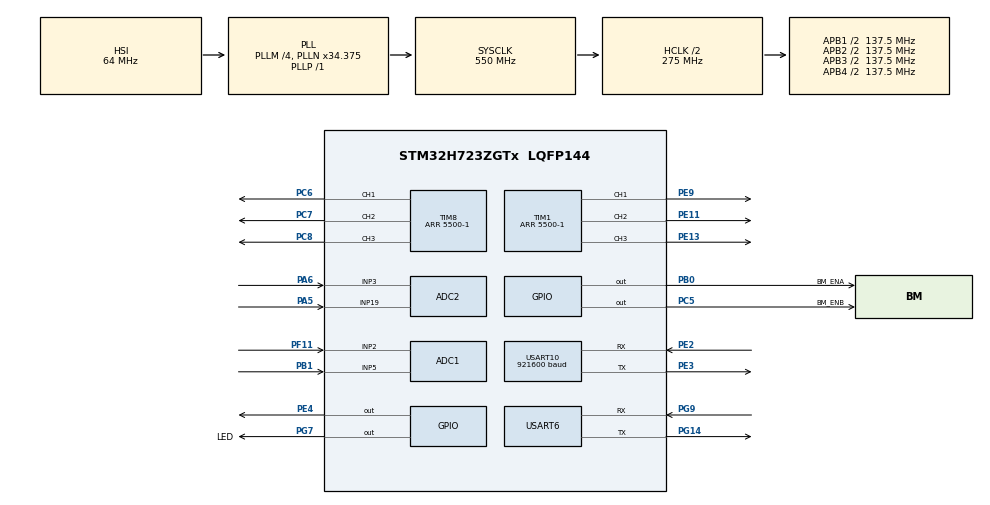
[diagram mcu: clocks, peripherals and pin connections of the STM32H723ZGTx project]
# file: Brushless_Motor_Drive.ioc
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ADC1.Channel-0\#ChannelRegularConversion=ADC_CHANNEL_2
ADC1.Channel-1\#ChannelRegularConversion=ADC_CHANNEL_5
ADC1.ConversionDataManagement=ADC_CONVERSIONDATA_DMA_CIRCULAR
ADC1.ExternalTrigConv=ADC_EXTERNALTRIG_T8_TRGO
ADC1.NbrOfConversion=2
ADC1.NbrOfConversionFlag=1
ADC1.OffsetNumber-0\#ChannelRegularConversion=ADC_OFFSET_NONE
ADC1.OffsetNumber-1\#ChannelRegularConversion=ADC_OFFSET_NONE
ADC1.OffsetSignedSaturation-0\#ChannelRegularConversion=DISABLE
ADC1.OffsetSignedSaturation-1\#ChannelRegularConversion=DISABLE
ADC1.OversamplingMode=ENABLE
ADC1.Rank-0\#ChannelRegularConversion=1
ADC1.Rank-1\#ChannelRegularConversion=2
ADC1.Ratio=2
ADC1.RightBitShift=ADC_RIGHTBITSHIFT_1
ADC1.SamplingTime-0\#ChannelRegularConversion=ADC_SAMPLETIME_8CYCLES_5
ADC1.SamplingTime-1\#ChannelRegularConversion=ADC_SAMPLETIME_8CYCLES_5
ADC1.master=1
ADC2.Channel-0\#ChannelRegularConversion=ADC_CHANNEL_3
ADC2.Channel-1\#ChannelRegularConversion=ADC_CHANNEL_19
ADC2.ClockPrescaler=ADC_CLOCK_ASYNC_DIV1
ADC2.ConversionDataManagement=ADC_CONVERSIONDATA_DMA_CIRCULAR
ADC2.ExternalTrigConv=ADC_EXTERNALTRIG_T1_TRGO
ADC2.NbrOfConversion=2
ADC2.NbrOfConversionFlag=1
ADC2.OffsetNumber-0\#ChannelRegularConversion=ADC_OFFSET_NONE
ADC2.OffsetNumber-1\#ChannelRegularConversion=ADC_OFFSET_NONE
ADC2.OffsetSignedSaturation-0\#ChannelRegularConversion=DISABLE
ADC2.OffsetSignedSaturation-1\#ChannelRegularConversion=DISABLE
ADC2.OversamplingMode=ENABLE
ADC2.Rank-0\#ChannelRegularConversion=1
ADC2.Rank-1\#ChannelRegularConversion=2
ADC2.Ratio=2
ADC2.RightBitShift=ADC_RIGHTBITSHIFT_1
ADC2.SamplingTime-0\#ChannelRegularConversion=ADC_SAMPLETIME_8CYCLES_5
ADC2.SamplingTime-1\#ChannelRegularConversion=ADC_SAMPLETIME_8CYCLES_5
CORTEX_M7.default_mode_Activation=1
Dma.ADC1.1.Direction=DMA_PERIPH_TO_MEMORY
Dma.ADC1.1.EventEnable=DISABLE
Dma.ADC1.1.FIFOMode=DMA_FIFOMODE_DISABLE
Dma.ADC1.1.Instance=DMA1_Stream1
Dma.ADC1.1.MemDataAlignment=DMA_MDATAALIGN_HALFWORD
Dma.ADC1.1.MemInc=DMA_MINC_ENABLE
Dma.ADC1.1.Mode=DMA_CIRCULAR
Dma.ADC1.1.PeriphDataAlignment=DMA_PDATAALIGN_HALFWORD
Dma.ADC1.1.PeriphInc=DMA_PINC_DISABLE
Dma.ADC1.1.Polarity=HAL_DMAMUX_REQ_GEN_RISING
Dma.ADC1.1.Priority=DMA_PRIORITY_LOW
Dma.ADC1.1.RequestNumber=1
Dma.ADC1.1.SignalID=NONE
Dma.ADC1.1.SyncEnable=DISABLE
Dma.ADC1.1.SyncPolarity=HAL_DMAMUX_SYNC_NO_EVENT
Dma.ADC1.1.SyncRequestNumber=1
Dma.ADC1.1.SyncSignalID=NONE
Dma.ADC2.0.Direction=DMA_PERIPH_TO_MEMORY
Dma.ADC2.0.EventEnable=DISABLE
Dma.ADC2.0.FIFOMode=DMA_FIFOMODE_DISABLE
Dma.ADC2.0.Instance=DMA1_Stream0
Dma.ADC2.0.MemDataAlignment=DMA_MDATAALIGN_HALFWORD
Dma.ADC2.0.MemInc=DMA_MINC_ENABLE
Dma.ADC2.0.Mode=DMA_CIRCULAR
Dma.ADC2.0.PeriphDataAlignment=DMA_PDATAALIGN_HALFWORD
Dma.ADC2.0.PeriphInc=DMA_PINC_DISABLE
Dma.ADC2.0.Polarity=HAL_DMAMUX_REQ_GEN_RISING
Dma.ADC2.0.Priority=DMA_PRIORITY_LOW
Dma.ADC2.0.RequestNumber=1
Dma.ADC2.0.SignalID=NONE
Dma.ADC2.0.SyncEnable=DISABLE
Dma.ADC2.0.SyncPolarity=HAL_DMAMUX_SYNC_NO_EVENT
Dma.ADC2.0.SyncRequestNumber=1
Dma.ADC2.0.SyncSignalID=NONE
Dma.Request0=ADC2
Dma.Request1=ADC1
Mcu.Family=STM32H7
Mcu.Name=STM32H723ZGTx
Mcu.Package=LQFP144
NVIC.PriorityGroup=NVIC_PRIORITYGROUP_4
NVIC.TIM1_UP_IRQn=true\:0\:0\:false\:false\:true\:true\:true\:true
NVIC.TIM8_UP_TIM13_IRQn=true\:0\:0\:false\:false\:true\:true\:true\:true
PA5.Signal=ADCx_INP19
PA6.Signal=ADCx_INP3
PB0.GPIO_Label=BM_ENA
PB0.GPIO_Speed=GPIO_SPEED_FREQ_HIGH
PB0.PinState=GPIO_PIN_SET
PB0.Signal=GPIO_Output
PB1.Signal=ADCx_INP5
PC5.GPIO_Label=BM_ENB
PC5.GPIO_Speed=GPIO_SPEED_FREQ_HIGH
PC5.PinState=GPIO_PIN_SET
PC5.Signal=GPIO_Output
PC6.Signal=S_TIM8_CH1
PC7.Signal=S_TIM8_CH2
PC8.Signal=S_TIM8_CH3
PE11.GPIO_Speed=GPIO_SPEED_FREQ_HIGH
PE11.Signal=S_TIM1_CH2
PE13.GPIO_Speed=GPIO_SPEED_FREQ_HIGH
PE13.Signal=S_TIM1_CH3
PE2.Mode=Asynchronous
PE2.Signal=USART10_RX
PE3.Mode=Asynchronous
PE3.Signal=USART10_TX
PE4.Signal=GPIO_Output
PE9.GPIO_Speed=GPIO_SPEED_FREQ_HIGH
PE9.Signal=S_TIM1_CH1
PF11.Mode=IN2-Single-Ended
PF11.Signal=ADC1_INP2
PG14.Mode=Asynchronous
PG14.Signal=USART6_TX
PG7.GPIO_Label=LED
PG7.GPIO_ModeDefaultOutputPP=GPIO_MODE_OUTPUT_PP
PG7.GPIO_PuPd=GPIO_NOPULL
PG7.Signal=GPIO_Output
PG9.Mode=Asynchronous
PG9.Signal=USART6_RX
PH0-OSC_IN.Mode=HSE-External-Oscillator
PH0-OSC_IN.Signal=RCC_OSC_IN
PH1-OSC_OUT.Mode=HSE-External-Oscillator
PH1-OSC_OUT.Signal=RCC_OSC_OUT
ProjectManager.HeapSize=0x200
ProjectManager.StackSize=0x400
ProjectManager.TargetToolchain=MDK-ARM V5.32
RCC.ADCFreq_Value=129000000
RCC.APB1Freq_Value=137500000
RCC.APB2Freq_Value=137500000
RCC.APB3Freq_Value=137500000
RCC.APB4Freq_Value=137500000
RCC.CortexFreq_Value=550000000
RCC.D1PPRE=RCC_APB3_DIV2
RCC.D2PPRE1=RCC_APB1_DIV2
RCC.D2PPRE2=RCC_APB2_DIV2
RCC.D3PPRE=RCC_APB4_DIV2
RCC.DIVM1=4
RCC.DIVN1=34
RCC.DIVP1=1
RCC.HCLKFreq_Value=275000000
RCC.HPRE=RCC_HCLK_DIV2
RCC.PLL2FRACN=0
RCC.PLL3FRACN=0
RCC.PLLFRACN=3072
RCC.SYSCLKFreq_VALUE=550000000
RCC.SYSCLKSource=RCC_SYSCLKSOURCE_PLLCLK
RCC.USBFreq_Value=275000000
SH.ADCx_INP19.0=ADC2_INP19,IN19-Single-Ended
SH.ADCx_INP3.0=ADC2_INP3,IN3-Single-Ended
SH.ADCx_INP5.0=ADC1_INP5,IN5-Single-Ended
SH.S_TIM1_CH1.0=TIM1_CH1,PWM Generation1 CH1
SH.S_TIM1_CH2.0=TIM1_CH2,PWM Generation2 CH2
SH.S_TIM1_CH3.0=TIM1_CH3,PWM Generation3 CH3
SH.S_TIM8_CH1.0=TIM8_CH1,PWM Generation1 CH1
SH.S_TIM8_CH2.0=TIM8_CH2,PWM Generation2 CH2
SH.S_TIM8_CH3.0=TIM8_CH3,PWM Generation3 CH3
TIM1.AutoReloadPreload=TIM_AUTORELOAD_PRELOAD_ENABLE
TIM1.Channel-PWM\ Generation1\ CH1=TIM_CHANNEL_1
TIM1.Channel-PWM\ Generation2\ CH2=TIM_CHANNEL_2
TIM1.Channel-PWM\ Generation3\ CH3=TIM_CHANNEL_3
TIM1.Channel-PWM\ Generation4\ No\ Output=TIM_CHANNEL_4
TIM1.CounterMode=TIM_COUNTERMODE_CENTERALIGNED1
TIM1.LockLevel=TIM_LOCKLEVEL_1
TIM1.OCMode_PWM-PWM\ Generation1\ CH1=TIM_OCMODE_PWM2
TIM1.OCMode_PWM-PWM\ Generation2\ CH2=TIM_OCMODE_PWM2
TIM1.OCMode_PWM-PWM\ Generation3\ CH3=TIM_OCMODE_PWM2
TIM1.OCMode_PWM-PWM\ Generation4\ No\ Output=TIM_OCMODE_PWM1
TIM1.Period=5500-1
TIM1.Pulse-PWM\ Generation1\ CH1=2750-1
TIM1.Pulse-PWM\ Generation2\ CH2=2750-1
TIM1.Pulse-PWM\ Generation3\ CH3=2750-1
TIM1.Pulse-PWM\ Generation4\ No\ Output=5495-1
TIM1.RepetitionCounter=1
TIM1.TIM_MasterOutputTrigger=TIM_TRGO_UPDATE
TIM8.AutoReloadPreload=TIM_AUTORELOAD_PRELOAD_ENABLE
TIM8.Channel-PWM\ Generation1\ CH1=TIM_CHANNEL_1
TIM8.Channel-PWM\ Generation2\ CH2=TIM_CHANNEL_2
TIM8.Channel-PWM\ Generation3\ CH3=TIM_CHANNEL_3
TIM8.Channel-PWM\ Generation4\ No\ Output=TIM_CHANNEL_4
TIM8.CounterMode=TIM_COUNTERMODE_CENTERALIGNED1
TIM8.OCMode_PWM-PWM\ Generation1\ CH1=TIM_OCMODE_PWM2
TIM8.OCMode_PWM-PWM\ Generation2\ CH2=TIM_OCMODE_PWM2
TIM8.OCMode_PWM-PWM\ Generation3\ CH3=TIM_OCMODE_PWM2
TIM8.Period=5500-1
TIM8.Pulse-PWM\ Generation1\ CH1=2750-1
TIM8.Pulse-PWM\ Generation2\ CH2=2750-1
TIM8.Pulse-PWM\ Generation3\ CH3=2750-1
TIM8.Pulse-PWM\ Generation4\ No\ Output=5495-1
TIM8.RepetitionCounter=1
TIM8.TIM_MasterOutputTrigger=TIM_TRGO_UPDATE
USART10.BaudRate=921600
USART10.VirtualMode-Asynchronous=VM_ASYNC
USART6.VirtualMode-Asynchronous=VM_ASYNC
VP_MEMORYMAP_VS_MEMORYMAP.Mode=CurAppReg
VP_TIM1_VS_ClockSourceINT.Mode=Internal
VP_TIM1_VS_no_output4.Mode=PWM Generation4 No Output
VP_TIM8_VS_ClockSourceINT.Mode=Internal
VP_TIM8_VS_no_output4.Mode=PWM Generation4 No Output
board=custom

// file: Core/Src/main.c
/* USER CODE BEGIN Header */
/**
  ******************************************************************************
  * @file           : main.c
  * @brief          : Main program body
  ******************************************************************************
  * @attention
  *
  * Copyright (c) 2026 STMicroelectronics.
  * All rights reserved.
  *
  * This software is licensed under terms that can be found in the LICENSE file
  * in the root directory of this software component.
  * If no LICENSE file comes with this software, it is provided AS-IS.
  *
  ******************************************************************************
  */
/* USER CODE END Header */
#include "main.h"
#include "adc.h"
#include "dma.h"
#include "tim.h"
#include "usart.h"
#include "gpio.h"

/* USER CODE BEGIN Includes */
#include "foc.h"
#include "stdio.h"
/* USER CODE END Includes */

void SystemClock_Config(void);
void PeriphCommonClock_Config(void);
static void MPU_Config(void);

/* USER CODE BEGIN 0 */
extern uint16_t adc2_buf[2];
extern uint16_t adc1_buf[2];

// foc_handle_t motor0;

void Print1_Motor_To_VOFA(float data, uint8_t length)
{
    char uart_buf[20];
    sprintf(uart_buf, "%.6f\n", data);
    HAL_UART_Transmit(&huart10, (uint8_t *)uart_buf, length, 100);
    HAL_UART_Transmit(&huart10, (uint8_t *)"\n", 1, 100);
}

void Print2_Motor_To_VOFA(float data1, float data2)
{

    char uart_buf[256]; // 足够长以容纳三个数据
    // 使用逗号分隔，结尾加换行，VOFA 的 FireWater 协议才能正确识别成一帧
    int len = sprintf(uart_buf, "%.3f,%.3f\n", data1, data2);

    // 一次性发送，不要分段发送逗号和换行
    HAL_UART_Transmit(&huart10, (uint8_t *)uart_buf, len, 10);
}

void Print3_Motor_To_VOFA(float data1, float data2, float data3)
{
    char uart_buf[256]; // 足够长以容纳三个数据
    // 使用逗号分隔，结尾加换行，VOFA 的 FireWater 协议才能正确识别成一帧
    int len = sprintf(uart_buf, "%.3f,%.3f,%.3f\n", data1, data2, data3);

    // 一次性发送，不要分段发送逗号和换行
    HAL_UART_Transmit(&huart10, (uint8_t *)uart_buf, len, 10);
}

void Print4_Motor_To_VOFA(float data1, float data2, float data3, float data4)
{
    char uart_buf[256]; // 足够长以容纳三个数据
    // 使用逗号分隔，结尾加换行，VOFA 的 FireWater 协议才能正确识别成一帧
    int len = sprintf(uart_buf, "%.3f,%.3f,%.3f,%.3f\n", data1, data2, data3, data4);

    // 一次性发送，不要分段发送逗号和换行
    HAL_UART_Transmit(&huart10, (uint8_t *)uart_buf, len, 10);
}

void Print5_Motor_To_VOFA(float data1, float data2, float data3, float data4, float data5)
{
    char uart_buf[256 * 4]; // 足够长以容纳三个数据
    // 使用逗号分隔，结尾加换行，VOFA 的 FireWater 协议才能正确识别成一帧
    int len = sprintf(uart_buf, "%.3f,%.3f,%.3f,%.3f, %.3f,%.3f\n", data1, data2, data3, data4, data5);

    // 一次性发送，不要分段发送逗号和换行
    HAL_UART_Transmit(&huart10, (uint8_t *)uart_buf, len, 10);
}
/* USER CODE END 0 */

int main(void)
{

  /* MPU Configuration--------------------------------------------------------*/
  MPU_Config();

  /* MCU Configuration--------------------------------------------------------*/

  /* Reset of all peripherals, Initializes the Flash interface and the Systick. */
  HAL_Init();

  /* Configure the system clock */
  SystemClock_Config();

  /* Configure the peripherals common clocks */
  PeriphCommonClock_Config();

  /* Initialize all configured peripherals */
  MX_GPIO_Init();
  MX_DMA_Init();
  MX_TIM1_Init();
  MX_ADC2_Init();
  MX_USART10_UART_Init();
  MX_ADC1_Init();
  MX_TIM8_Init();
  MX_USART6_UART_Init();
  /* USER CODE BEGIN 2 */

  Foc_Init(1, &foc_hal); // 左边电机
  Foc_Init(2, &foc_hal); // 右边电机

  HAL_Delay(50);

  /* USER CODE END 2 */

  /* Infinite loop */
  /* USER CODE BEGIN WHILE */
  HAL_GPIO_WritePin(GPIOG, GPIO_PIN_7, GPIO_PIN_SET);
  HAL_GPIO_WritePin(GPIOE, GPIO_PIN_4, GPIO_PIN_SET); // 485接收使能
  while (1)
  {
    // Print2_Motor_To_VOFA((FOC_Motor[2].u_dq.q - FOC_Motor[2].pi_q.feedback * MOTOR_R) / FOC_Motor[2].speed_observer, FOC_Motor[2].speed);
    // Print3_Motor_To_VOFA(FOC_Motor[2].i_adc_u, FOC_Motor[2].i_adc_v, FOC_Motor[2].i_adc_w);
    // Print3_Motor_To_VOFA(FOC_Motor[2].i_uvw.u, FOC_Motor[2].i_uvw.v, FOC_Motor[2].i_uvw.w);
    // Print4_Motor_To_VOFA(
    // FOC_Motor[2].speed,
    // FOC_Motor[2].pi_q.target,
    // FOC_Motor[2].i_dq.q,
    // FOC_Motor[2].u_dq.q);
    // Print4_Motor_To_VOFA(
    // FOC_Motor[2].i_dq.d,
    // FOC_Motor[2].i_dq.q,
    // angle_error,
    // FOC_Motor[2].e_amp);
    // Print4_Motor_To_VOFA(
    // FOC_Motor[2].speed,
    // FOC_Motor[2].e_amp,
    // smo_sat_ratio,
    // sqrtf(
    //     (FOC_Motor[2].i_ab_hat.alpha - FOC_Motor[2].i_ab.alpha) *
    //     (FOC_Motor[2].i_ab_hat.alpha - FOC_Motor[2].i_ab.alpha) +
    //     (FOC_Motor[2].i_ab_hat.beta - FOC_Motor[2].i_ab.beta) *
    //     (FOC_Motor[2].i_ab_hat.beta - FOC_Motor[2].i_ab.beta)));
    // Print2_Motor_To_VOFA(FOC_Motor[2].i_ab.alpha, FOC_Motor[2].i_ab.beta);
    // Print2_Motor_To_VOFA(FOC_Motor[2].i_ab.alpha, FOC_Motor[2].i_ab_hat.alpha);
    // Print2_Motor_To_VOFA(FOC_Motor[2].u_dq.q, FOC_Motor[2].u_dq.d);
    // Print2_Motor_To_VOFA(FOC_Motor[2].i_dq.q, FOC_Motor[2].i_dq.d);
    // Print2_Motor_To_VOFA(FOC_Motor[2].e_ab.alpha, FOC_Motor[2].e_ab.beta);
    // Print3_Motor_To_VOFA(FOC_Motor[2].e_ab.alpha, FOC_Motor[2].e_ab.beta, sqrt(FOC_Motor[2].e_ab.alpha * FOC_Motor[2].e_ab.alpha + FOC_Motor[2].e_ab.beta * FOC_Motor[2].e_ab.beta));
    // Print3_Motor_To_VOFA(FOC_Motor[2].theta, FOC_Motor[2].theta_Observer, angle_error);
    // Print4_Motor_To_VOFA(FOC_Motor[2].i_ab_hat.alpha - FOC_Motor[2].i_ab.alpha, smo_sat_ratio, angle_error, FOC_Motor[2].e_amp);
    // Print4_Motor_To_VOFA(
    // FOC_Motor[2].speed,
    // FOC_Motor[2].i_dq.d,
    // FOC_Motor[2].i_dq.q,
    // angle_error);
    // Print4_Motor_To_VOFA(
    // FOC_Motor[2].target_speed,
    // FOC_Motor[2].speed,
    // FOC_Motor[2].pi_q.feedback,
    // FOC_Motor[2].pi_q.output);

    float e_expected = fabsf(FOC_Motor[2].speed_ramp_target) *
                   _2_PI * POLE_PAIRS / 60.0f * MOTOR_PSI_F;
    float e_threshold = fmaxf(0.5f, 0.25f * e_expected);

  //   Print4_Motor_To_VOFA(
  //     FOC_Motor[2].speed,
  //     FOC_Motor[2].e_amp,
  //     angle_error,
  //     V_scale
  // );

  Print4_Motor_To_VOFA(
    FOC_Motor[2].speed,
    FOC_Motor[2].e_amp,
    FOC_Motor[2].angle_error,
    calc_compensation_angle(FOC_Motor[2].speed_observer)
);
    // Print4_Motor_To_VOFA(FOC_Motor[2].theta, FOC_Motor[2].theta_Observer, FOC_Motor[2].speed_observer, angle_error);
    // Print4_Motor_To_VOFA(FOC_Motor[2].i_dq.d, FOC_Motor[2].i_dq.q, FOC_Motor[2].pi_q.output, FOC_Motor[2].speed);
    // Print3_Motor_To_VOFA(FOC_Motor[2].speed, FOC_Motor[2].speed_observer, angle_error);

    // Print3_Motor_To_VOFA(FOC_Motor[2].speed, FOC_Motor[2].speed_ramp_target, FOC_Motor[2].e_amp);
    // Print6_Motor_To_VOFA(
    //   FOC_Motor[2].e_amp,
    //   angle_error,
    //   FOC_Motor[2].i_dq.q,
    //   FOC_Motor[2].pi_q.target,
    //   FOC_Motor[2].u_dq.q,
    //   FOC_Motor[2].i_ab_hat.alpha - FOC_Motor[2].i_ab.alpha);

    // Print3_Motor_To_VOFA(V_scale, smo_sat_ratio, FOC_Motor[2].i_ab_hat.alpha - FOC_Motor[2].i_ab.alpha);

    // Print3_Motor_To_VOFA(FOC_Motor[2].speed, FOC_Motor[2].mode, sqrt(FOC_Motor[2].u_dq.d + FOC_Motor[2].u_dq.q));
    // Print3_Motor_To_VOFA(FOC_Motor[2].u_dq.q, FOC_Motor[2].i_dq.q, FOC_Motor[2].pi_q.target);
    // Print3_Motor_To_VOFA(FOC_Motor[2].theta_Observer, FOC_Motor[2].theta, FOC_Motor[2].pi_q.target);
    // Print3_Motor_To_VOFA(FOC_Motor[2].i_dq.d, FOC_Motor[2].pi_d.target, FOC_Motor[2].pi_d.output);
    // Print3_Motor_To_VOFA(FOC_Motor[2].i_dq.d, FOC_Motor[2].pi_d.target, FOC_Motor[2].pi_d.output);
    // Print3_Motor_To_VOFA(FOC_Motor[2].i_adc_u, FOC_Motor[2].i_uvw.u, FOC_Motor[2].pi_q.target);
    // Print3_Motor_To_VOFA(FOC_Motor[2].i_ab_hat.alpha, FOC_Motor[2].i_ab_hat.beta, angle_error);
    // Print3_Motor_To_VOFA(FOC_Motor[2].u_dq.q, FOC_Motor[2].i_dq.q, FOC_Motor[2].speed);
    // Print4_Motor_To_VOFA(FOC_Motor[2].theta, FOC_Motor[2].theta_Observer, FOC_Motor[2].speed, angle_error);
    // Print4_Motor_To_VOFA(Vq_New, Vq_raw, V_scale, FOC_Motor[2].pi_q.integral);
    // Print4_Motor_To_VOFA(FOC_Motor[2].pi_q.target, FOC_Motor[2].pi_q.feedback, V_scale, FOC_Motor[2].pi_q.integral);
    // Print4_Motor_To_VOFA(
    //     FOC_Motor[2].i_dq.d,          // 期望≈0
    //     FOC_Motor[2].i_dq.q,          // 期望≈正7值稳定
    //     FOC_Motor[2].speed,            // 期望≈target_speed
    //     FOC_Motor[2].theta_Observer    // 观察是否平滑
    // );
    // Print4_Motor_To_VOFA(
    //     FOC_Motor[2].speed,              // 实际转速
    //     FOC_Motor[2].pi_speed.target,    // 速度目标（斜坡后）
    //     FOC_Motor[2].i_dq.q,             // Iq（力矩电流）
    //     FOC_Motor[2].i_dq.d              // Id（应接近0）
    // );
    // 在 Foc_Close_Loop 中，速度环计算完后添加
    // Print4_Motor_To_VOFA(FOC_Motor[2].speed,           // 观测器估计的 RPM
    //                  FOC_Motor[2].speed_ramp_target,// 爬坡目标 RPM
    //                  FOC_Motor[2].pi_q.target,     // 速度环输出的 Iq 目标 (A)
    //                  FOC_Motor[2].i_dq.q);         // 实测 q 轴电流 (A)
    // Print2_Motor_To_VOFA(FOC_Motor[2].i_dq.q, FOC_Motor[2].i_dq.d);

    // Print4_Motor_To_VOFA(FOC_Motor[2].id_fw,        // 弱磁电流（应为负值）
    //                  FOC_Motor[2].i_dq.q,        // 实际 iq
    //                  FOC_Motor[2].speed,          // 转速
    //                  FOC_Motor[2].fw_active);     // 弱磁是否激活

    Foc_Set_Speed(2, 2000);
    Foc_Set_Speed(1, -2000);
    // Foc_Set_Speed(1, 50);
    // Print2_Motor_To_VOFA((float)adc2_buf[0], (float)adc1_buf[1]);
    // 速度环调试需要看4个量
    // 改为打印这4个量（用Print3打前3个，observer_speed最重要）
    // Print3_Motor_To_VOFA(motor0.speed, motor0.speed_ramp_target, motor0.theta);
    // Print3_Motor_To_VOFA(motor0.speed, motor0.speed_ramp_target, angle_error);
    // Print3_Motor_To_VOFA(motor0.theta, theta_Observer, angle_error);
    // Print2_Motor_To_VOFA(motor0.e_alpha, motor0.e_beta);
    // Print2_Motor_To_VOFA(motor0.i_alpha, motor0.i_beta);
    // Print2_Motor_To_VOFA(motor0.adc_iu, motor0.adc_iw);
    // Print2_Motor_To_VOFA(motor0.i_q, motor0.i_d);
    // Print2_Motor_To_VOFA(motor0.i_q, angle_error);
    // Print2_Motor_To_VOFA(motor0.theta, theta_Observer);
    /* USER CODE END WHILE */

  }
}

void SystemClock_Config(void)
{
  RCC_OscInitTypeDef RCC_OscInitStruct = {0};
  RCC_ClkInitTypeDef RCC_ClkInitStruct = {0};

  /** Supply configuration update enable
  */
  HAL_PWREx_ConfigSupply(PWR_LDO_SUPPLY);

  /** Configure the main internal regulator output voltage
  */
  __HAL_PWR_VOLTAGESCALING_CONFIG(PWR_REGULATOR_VOLTAGE_SCALE0);

  while(!__HAL_PWR_GET_FLAG(PWR_FLAG_VOSRDY)) {}

  /** Initializes the RCC Oscillators according to the specified parameters
  * in the RCC_OscInitTypeDef structure.
  */
  RCC_OscInitStruct.OscillatorType = RCC_OSCILLATORTYPE_HSI;
  RCC_OscInitStruct.HSIState = RCC_HSI_DIV1;
  RCC_OscInitStruct.HSICalibrationValue = 64;
  RCC_OscInitStruct.PLL.PLLState = RCC_PLL_ON;
  RCC_OscInitStruct.PLL.PLLSource = RCC_PLLSOURCE_HSI;
  RCC_OscInitStruct.PLL.PLLM = 4;
  RCC_OscInitStruct.PLL.PLLN = 34;
  RCC_OscInitStruct.PLL.PLLP = 1;
  RCC_OscInitStruct.PLL.PLLQ = 2;
  RCC_OscInitStruct.PLL.PLLR = 2;
  RCC_OscInitStruct.PLL.PLLRGE = RCC_PLL1VCIRANGE_3;
  RCC_OscInitStruct.PLL.PLLVCOSEL = RCC_PLL1VCOWIDE;
  RCC_OscInitStruct.PLL.PLLFRACN = 3072;
  if (HAL_RCC_OscConfig(&RCC_OscInitStruct) != HAL_OK)
  {
    Error_Handler();
  }

  /** Initializes the CPU, AHB and APB buses clocks
  */
  RCC_ClkInitStruct.ClockType = RCC_CLOCKTYPE_HCLK|RCC_CLOCKTYPE_SYSCLK
                              |RCC_CLOCKTYPE_PCLK1|RCC_CLOCKTYPE_PCLK2
                              |RCC_CLOCKTYPE_D3PCLK1|RCC_CLOCKTYPE_D1PCLK1;
  RCC_ClkInitStruct.SYSCLKSource = RCC_SYSCLKSOURCE_PLLCLK;
  RCC_ClkInitStruct.SYSCLKDivider = RCC_SYSCLK_DIV1;
  RCC_ClkInitStruct.AHBCLKDivider = RCC_HCLK_DIV2;
  RCC_ClkInitStruct.APB3CLKDivider = RCC_APB3_DIV2;
  RCC_ClkInitStruct.APB1CLKDivider = RCC_APB1_DIV2;
  RCC_ClkInitStruct.APB2CLKDivider = RCC_APB2_DIV2;
  RCC_ClkInitStruct.APB4CLKDivider = RCC_APB4_DIV2;

  if (HAL_RCC_ClockConfig(&RCC_ClkInitStruct, FLASH_LATENCY_3) != HAL_OK)
  {
    Error_Handler();
  }
}

void PeriphCommonClock_Config(void)
{
  RCC_PeriphCLKInitTypeDef PeriphClkInitStruct = {0};

  /** Initializes the peripherals clock
  */
  PeriphClkInitStruct.PeriphClockSelection = RCC_PERIPHCLK_ADC;
  PeriphClkInitStruct.PLL2.PLL2M = 32;
  PeriphClkInitStruct.PLL2.PLL2N = 129;
  PeriphClkInitStruct.PLL2.PLL2P = 2;
  PeriphClkInitStruct.PLL2.PLL2Q = 2;
  PeriphClkInitStruct.PLL2.PLL2R = 2;
  PeriphClkInitStruct.PLL2.PLL2RGE = RCC_PLL2VCIRANGE_1;
  PeriphClkInitStruct.PLL2.PLL2VCOSEL = RCC_PLL2VCOWIDE;
  PeriphClkInitStruct.PLL2.PLL2FRACN = 0;
  PeriphClkInitStruct.AdcClockSelection = RCC_ADCCLKSOURCE_PLL2;
  if (HAL_RCCEx_PeriphCLKConfig(&PeriphClkInitStruct) != HAL_OK)
  {
    Error_Handler();
  }
}

/* USER CODE BEGIN 4 */

void HAL_TIM_PeriodElapsedCallback(TIM_HandleTypeDef *htim)
{
    if(htim->Instance == TIM1)
    {
        GPIOG->BSRR = GPIO_PIN_7 << 16;
        Foc_Loop(2);
        GPIOG->BSRR = GPIO_PIN_7;
        // HAL_GPIO_WritePin(GPIOG, GPIO_PIN_7, GPIO_PIN_RESET);
    }
    if(htim->Instance == TIM8)
    {
        Foc_Loop(1);
        HAL_GPIO_WritePin(GPIOG, GPIO_PIN_7, GPIO_PIN_SET);
    }
}
/* USER CODE END 4 */

 /* MPU Configuration */

void MPU_Config(void)
{
  MPU_Region_InitTypeDef MPU_InitStruct = {0};

  /* Disables the MPU */
  HAL_MPU_Disable();

  /** Initializes and configures the Region and the memory to be protected
  */
  MPU_InitStruct.Enable = MPU_REGION_ENABLE;
  MPU_InitStruct.Number = MPU_REGION_NUMBER0;
  MPU_InitStruct.BaseAddress = 0x0;
  MPU_InitStruct.Size = MPU_REGION_SIZE_4GB;
  MPU_InitStruct.SubRegionDisable = 0x87;
  MPU_InitStruct.TypeExtField = MPU_TEX_LEVEL0;
  MPU_InitStruct.AccessPermission = MPU_REGION_NO_ACCESS;
  MPU_InitStruct.DisableExec = MPU_INSTRUCTION_ACCESS_DISABLE;
  MPU_InitStruct.IsShareable = MPU_ACCESS_SHAREABLE;
  MPU_InitStruct.IsCacheable = MPU_ACCESS_NOT_CACHEABLE;
  MPU_InitStruct.IsBufferable = MPU_ACCESS_NOT_BUFFERABLE;

  HAL_MPU_ConfigRegion(&MPU_InitStruct);
  /* Enables the MPU */
  HAL_MPU_Enable(MPU_PRIVILEGED_DEFAULT);

}

void Error_Handler(void)
{
  __disable_irq();
  while (1)
  {
  }
}
